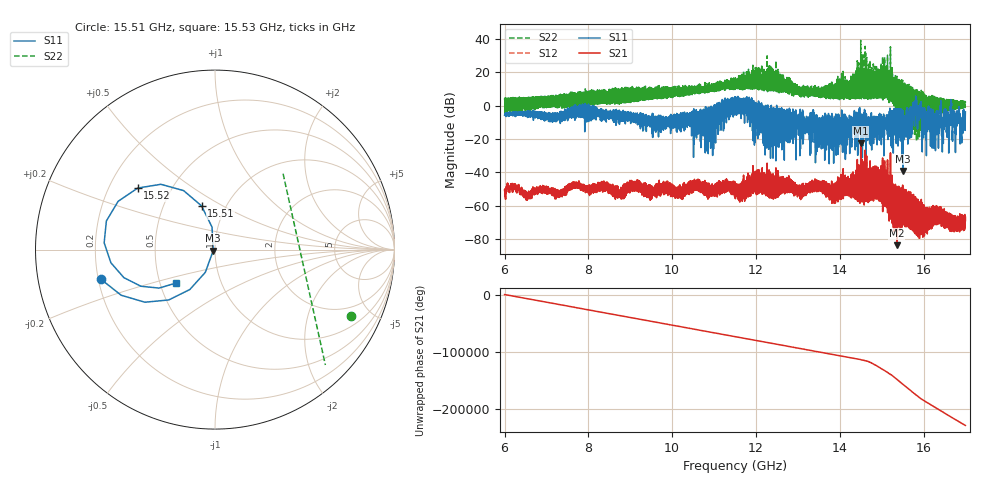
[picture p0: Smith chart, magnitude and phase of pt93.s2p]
#  HZ  S  RI  R  50.00
! Rohde & Schwarz Vector Network Analyzer
! Rohde-Schwarz,ZNA67-2Port,1332450062101215,3.01
! Created: UTC 10/19/2026, 11:11:15 AM
! freq[Hz]  re:S11  im:S11  re:S21  im:S21  re:S12  im:S12  re:S22  im:S22
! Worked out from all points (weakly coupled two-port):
!   11001 points, 6 GHz to 17 GHz, reference 50 ohm
!   highest |S21| = -22.51 dB at 14.5 GHz (marker M1); lowest = -83.8 dB at 15.37 GHz (marker M2)
!   lowest |S11| = -39.1 dB at 15.51 GHz (marker M3), VSWR 1.02, Z = 49 - j0.493 ohm
!   |S11| at or under -10 dB: 13.46869 GHz to 13.49474 GHz (26.05 MHz wide, 0.193 % of centre); 13.60951 GHz to 13.63387 GHz (24.36 MHz wide, 0.179 % of centre); 13.9224 GHz to 13.94871 GHz (26.31 MHz wide, 0.189 % of centre) (the widest 3 of 517)
!   |S22| runs from -21.2 to 39.1 dB; largest |S21 - S12| = 0.0028
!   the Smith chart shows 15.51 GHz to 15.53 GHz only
!   S11 on the Smith chart (normalised r, x): 15.51 GHz: 0.21, -0.12; 15.51 GHz: 0.77, +0.40; 15.52 GHz: 0.32, +0.32; 15.53 GHz: 0.61, -0.25
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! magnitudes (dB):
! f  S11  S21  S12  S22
! 6 GHz  -5.7  -50.5  -50.5  3.3
! 7.834 GHz  -3.4  -47.9  -47.7  7.7
! 9.667 GHz  -6.1  -47.5  -47.6  11.9
! 10.87 GHz  -1.7  -52.8  -52.8  8.6
! 11.5 GHz  5.0  -52.4  -52.6  12.6
! 12.44 GHz  -2.8  -48.5  -48.6  15.8
! 13.33 GHz  -12.5  -50.0  -49.6  7.7
! 14.5 GHz  -35.3  -22.5  -22.4  39.1
! 14.9 GHz  -12.9  -54.4  -54.6  4.6
! 15.17 GHz  -14.4  -59.8  -59.8  6.1
! 15.37 GHz  -19.7  -83.8  -84.3  -0.2
! 15.51 GHz  -3.6  -66.7  -66.7  -1.5
! 15.51 GHz  -39.1  -59.3  -59.3  5.3
! 15.51 GHz  -11.9  -55.4  -55.9  10.5
! 15.52 GHz  -5.2  -71.6  -71.2  -4.9
! 15.53 GHz  -10.9  -55.4  -55.1  7.0
! 15.68 GHz  -3.3  -54.6  -54.2  10.7
! 15.79 GHz  -5.8  -63.2  -63.4  1.7
! 16.23 GHz  -9.3  -64.4  -64.5  2.9
! 16.69 GHz  -15.9  -69.2  -69.1  1.3
! 16.91 GHz  -19.3  -67.9  -68.0  1.9
! 17 GHz  -3.8  -69.1  -69.0  1.7
